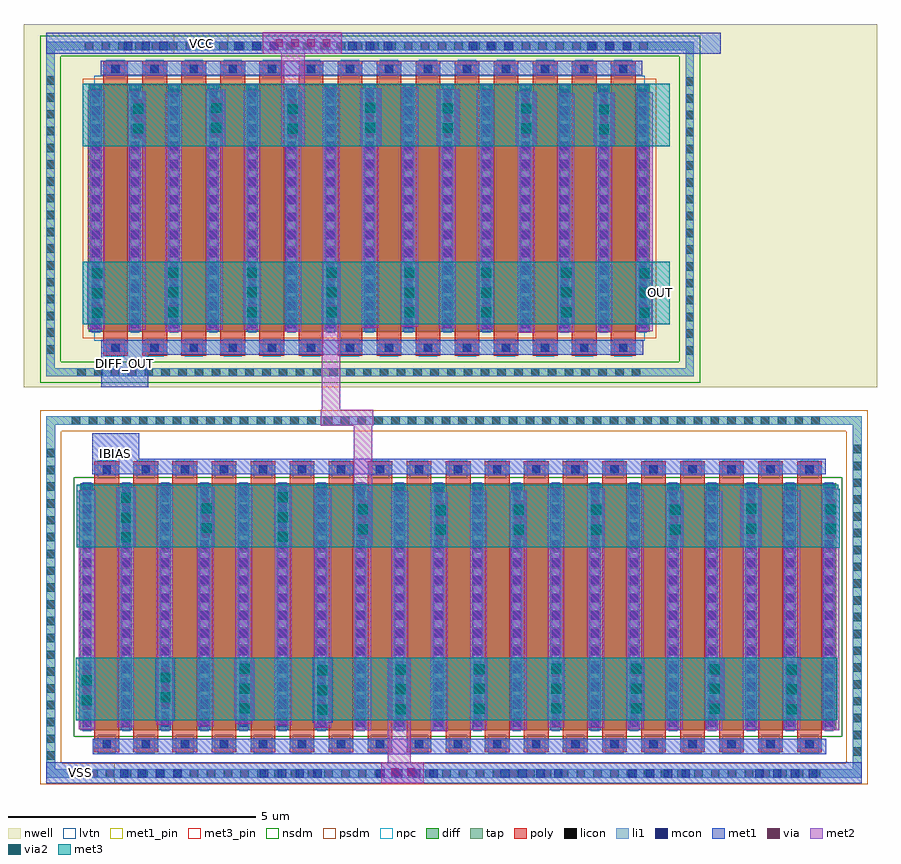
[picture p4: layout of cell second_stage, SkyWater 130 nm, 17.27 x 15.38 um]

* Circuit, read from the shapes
.subckt second_stage DIFF_OUT IBIAS OUT VCC VSS
XM1 OUT IBIAS VSS VSS sky130_fd_pr__nfet_01v8 w=5 l=0.5 m=19
XM2 VCC DIFF_OUT OUT VCC sky130_fd_pr__pfet_01v8_lvt w=5 l=0.5 m=14
.ends

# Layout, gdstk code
import gdstk
lib = gdstk.Library(unit=1e-6, precision=1e-09)
def R(c, l, rs):  # rectangles x0, y0, x1, y1
    for r in rs: c.add(gdstk.rectangle(r[:2], r[2:], *l))
def A(c, l, x, y, w, h, nx, ny, dx, dy):  # array of equal rectangles
    R(c, l, [(x+i*dx, y+j*dy, x+i*dx+w, y+j*dy+h) for i in range(nx) for j in range(ny)])
nwell = (64, 20)
diff = (65, 20)
tap = (65, 44)
poly = (66, 20)
licon = (66, 44)
li1 = (67, 20)
mcon = (67, 44)
met1_pin = (68, 16)
met1 = (68, 20)
via = (68, 44)
met2 = (69, 20)
via2 = (69, 44)
met3_pin = (70, 16)
met3 = (70, 20)
nsdm = (93, 44)
psdm = (94, 20)
npc = (95, 20)
lvtn = (125, 44)

sky130_fd_pr__pfet_01v8_ = lib.new_cell('sky130_fd_pr__pfet_01v8_lvt_YS6JVD')
R(sky130_fd_pr__pfet_01v8_, nwell, [(-0.72,-3,0.72,3)])
R(sky130_fd_pr__pfet_01v8_, diff, [(-0.54,-2.5,0.54,2.5)])
R(sky130_fd_pr__pfet_01v8_, poly, [(-0.25,-2.985,0.25,2.985)])
A(sky130_fd_pr__pfet_01v8_, licon, -0.48, -2.295, 0.17, 0.17, 1, 14, 0, 0.34)
A(sky130_fd_pr__pfet_01v8_, licon, 0.31, -2.295, 0.17, 0.17, 1, 14, 0, 0.34)
R(sky130_fd_pr__pfet_01v8_, licon, [(-0.085,-2.905,0.085,-2.735), (-0.085,2.735,0.085,2.905)])
R(sky130_fd_pr__pfet_01v8_, li1, [(-0.25,-2.905,0.25,-2.735), (-0.48,-2.52,-0.31,2.52), (0.31,-2.52,0.48,2.52), (-0.25,2.735,0.25,2.905)])
A(sky130_fd_pr__pfet_01v8_, mcon, -0.48, -2.425, 0.17, 0.17, 1, 14, 0, 0.36)
A(sky130_fd_pr__pfet_01v8_, mcon, 0.31, -2.425, 0.17, 0.17, 1, 14, 0, 0.36)
R(sky130_fd_pr__pfet_01v8_, mcon, [(-0.085,-2.905,0.085,-2.735), (-0.085,2.735,0.085,2.905)])
R(sky130_fd_pr__pfet_01v8_, met1, [(-0.23,-2.935,0.23,-2.705), (-0.51,-2.5,-0.28,2.5), (0.28,-2.5,0.51,2.5), (-0.23,2.705,0.23,2.935)])
R(sky130_fd_pr__pfet_01v8_, psdm, [(-0.665,-2.625,0.665,2.625)])
R(sky130_fd_pr__pfet_01v8_, npc, [(-0.185,-3.005,0.185,-2.635), (-0.185,2.635,0.185,3.005)])
R(sky130_fd_pr__pfet_01v8_, lvtn, [(-0.43,-2.68,0.43,2.68)])

sky130_fd_pr__nfet_01v8_ = lib.new_cell('sky130_fd_pr__nfet_01v8_U9XYXH')
R(sky130_fd_pr__nfet_01v8_, diff, [(-0.54,-2.5,0.54,2.5)])
R(sky130_fd_pr__nfet_01v8_, poly, [(-0.25,-2.94,0.25,2.94)])
A(sky130_fd_pr__nfet_01v8_, licon, -0.48, -2.295, 0.17, 0.17, 1, 14, 0, 0.34)
A(sky130_fd_pr__nfet_01v8_, licon, 0.31, -2.295, 0.17, 0.17, 1, 14, 0, 0.34)
R(sky130_fd_pr__nfet_01v8_, licon, [(-0.085,-2.86,0.085,-2.69), (-0.085,2.69,0.085,2.86)])
R(sky130_fd_pr__nfet_01v8_, li1, [(-0.25,-2.86,0.25,-2.69), (-0.48,-2.52,-0.31,2.52), (0.31,-2.52,0.48,2.52), (-0.25,2.69,0.25,2.86)])
A(sky130_fd_pr__nfet_01v8_, mcon, -0.48, -2.425, 0.17, 0.17, 1, 14, 0, 0.36)
A(sky130_fd_pr__nfet_01v8_, mcon, 0.31, -2.425, 0.17, 0.17, 1, 14, 0, 0.36)
R(sky130_fd_pr__nfet_01v8_, mcon, [(-0.085,-2.86,0.085,-2.69), (-0.085,2.69,0.085,2.86)])
R(sky130_fd_pr__nfet_01v8_, met1, [(-0.23,-2.89,0.23,-2.66), (-0.51,-2.5,-0.28,2.5), (0.28,-2.5,0.51,2.5), (-0.23,2.66,0.23,2.89)])
R(sky130_fd_pr__nfet_01v8_, nsdm, [(-0.665,-2.625,0.665,2.625)])
R(sky130_fd_pr__nfet_01v8_, npc, [(-0.185,-2.96,0.185,-2.59), (-0.185,2.59,0.185,2.96)])

second_stage = lib.new_cell('second_stage')
R(second_stage, nwell, [(-1.14,7.38,16.13,14.73)])
R(second_stage, tap, [(-0.68,-0.52,15.81,-0.35), (-0.68,-0.35,-0.5,6.62), (15.63,-0.35,15.81,6.62), (-0.68,6.62,15.81,6.79), (-0.68,7.6,12.42,7.77), (-0.68,7.77,-0.51,14.2), (12.25,7.77,12.42,14.2), (-0.68,14.2,12.42,14.37)])
A(second_stage, licon, -0.155, -0.52, 0.17, 0.17, 45, 1, 0.34, 0)
A(second_stage, licon, -0.675, -0.155, 0.17, 0.17, 1, 19, 0, 0.34)
A(second_stage, licon, 15.635, -0.075, 0.17, 0.17, 1, 19, 0, 0.34)
A(second_stage, licon, -0.165, 6.62, 0.17, 0.17, 45, 1, 0.34, 0)
A(second_stage, licon, -0.055, 7.6, 0.17, 0.17, 34, 1, 0.34, 0)
A(second_stage, licon, 12.25, 8.04, 0.17, 0.17, 1, 17, 0, 0.34)
A(second_stage, licon, -0.68, 8.06, 0.17, 0.17, 1, 17, 0, 0.34)
A(second_stage, licon, 0.095, 14.2, 0.17, 0.17, 34, 1, 0.34, 0)
R(second_stage, li1, [(-0.68,-0.52,15.81,-0.35), (-0.68,-0.35,-0.5,6.62), (15.63,-0.35,15.81,6.62), (-0.68,6.62,15.81,6.79), (-0.68,7.6,12.42,7.77), (-0.68,7.77,-0.51,14.2), (12.25,7.77,12.42,14.2), (-0.68,14.2,12.42,14.37)])
A(second_stage, mcon, 0.81, -0.52, 0.17, 0.17, 4, 1, 0.36, 0)
A(second_stage, mcon, 3.64, -0.52, 0.17, 0.17, 4, 1, 0.36, 0)
A(second_stage, mcon, 5.99, -0.52, 0.17, 0.17, 4, 1, 0.36, 0)
A(second_stage, mcon, 8.51, -0.52, 0.17, 0.17, 4, 1, 0.36, 0)
A(second_stage, mcon, 11.09, -0.52, 0.17, 0.17, 4, 1, 0.36, 0)
A(second_stage, mcon, 13.66, -0.52, 0.17, 0.17, 4, 1, 0.36, 0)
A(second_stage, mcon, 0.885, 14.2, 0.17, 0.17, 3, 1, 0.36, 0)
A(second_stage, mcon, 3.125, 14.2, 0.17, 0.17, 3, 1, 0.36, 0)
A(second_stage, mcon, 5.425, 14.2, 0.17, 0.17, 3, 1, 0.36, 0)
A(second_stage, mcon, 7.865, 14.2, 0.17, 0.17, 3, 1, 0.36, 0)
A(second_stage, mcon, 10.265, 14.2, 0.17, 0.17, 3, 1, 0.36, 0)
R(second_stage, met1_pin, [(-0.68,-0.63,0.7,-0.21), (0.25,5.62,1.2,6.45), (0.43,7.38,1.38,8.34), (1.9,14.13,3,14.55)])
R(second_stage, met1, [(-0.68,-0.63,15.81,-0.21), (0.26,-0.04,15.1,0.27), (-0.03,0.46,0.31,5.3), (4.71,0.59,5.11,1.92), (1.52,0.63,1.92,1.91), (3.12,0.63,3.52,1.91), (11.05,0.63,11.41,1.91), (6.24,0.64,6.69,1.9), (9.45,0.64,9.81,1.91), (12.64,0.64,13.03,1.91), (14.22,0.64,14.58,1.92), (7.89,0.65,8.24,1.91), (5.54,4.13,5.9,5.28), (15.01,4.13,15.37,5.33), (0.74,4.14,1.1,4.15), (2.36,4.14,2.72,5.36), (3.93,4.14,4.28,5.38), (7.1,4.14,7.44,5.26), (8.69,4.14,9.04,5.29), (10.26,4.14,10.62,5.33), (11.85,4.14,12.2,5.29), (13.41,4.14,13.75,4.15), (0.73,4.15,1.13,5.36), (13.36,4.15,13.78,5.33), (0.25,5.62,15.09,5.93), (0.25,5.93,1.2,6.45), (0.43,7.38,1.38,8.04), (0.43,8.04,11.39,8.34), (1.71,8.65,2.07,9.91), (0.15,8.66,0.5,9.92), (3.3,8.66,3.66,9.92), (4.9,8.66,5.26,9.92), (6.5,8.66,6.84,9.92), (8.03,8.66,8.37,9.92), (9.66,8.66,10,9.92), (11.24,8.66,11.59,9.92), (0.98,12.25,1.33,13.37), (2.55,12.26,2.89,13.38), (4.13,12.26,4.49,13.35), (5.67,12.26,6.09,13.42), (7.22,12.26,7.68,13.41), (8.82,12.26,9.24,13.36), (10.39,12.26,10.82,13.34), (0.42,13.69,11.37,13.99), (-0.68,14.13,12.96,14.55)])
A(second_stage, via, 0.065, 0.855, 0.15, 0.15, 1, 3, 0, 0.32)
A(second_stage, via, 4.825, 0.86, 0.15, 0.15, 1, 3, 0, 0.32)
A(second_stage, via, 6.395, 0.87, 0.15, 0.15, 1, 3, 0, 0.32)
A(second_stage, via, 14.32, 0.875, 0.15, 0.15, 1, 3, 0, 0.32)
A(second_stage, via, 7.995, 0.885, 0.15, 0.15, 1, 3, 0, 0.32)
A(second_stage, via, 9.55, 0.885, 0.15, 0.15, 1, 3, 0, 0.32)
A(second_stage, via, 12.765, 0.885, 0.15, 0.15, 1, 3, 0, 0.32)
A(second_stage, via, 3.255, 0.89, 0.15, 0.15, 1, 3, 0, 0.32)
A(second_stage, via, 11.165, 0.89, 0.15, 0.15, 1, 3, 0, 0.32)
A(second_stage, via, 1.655, 0.915, 0.15, 0.15, 1, 3, 0, 0.32)
A(second_stage, via, 7.205, 4.3, 0.15, 0.15, 1, 3, 0, 0.32)
A(second_stage, via, 8.795, 4.305, 0.15, 0.15, 1, 3, 0, 0.32)
A(second_stage, via, 10.355, 4.305, 0.15, 0.15, 1, 3, 0, 0.32)
A(second_stage, via, 11.955, 4.305, 0.15, 0.15, 1, 3, 0, 0.32)
A(second_stage, via, 5.64, 4.315, 0.15, 0.15, 1, 3, 0, 0.32)
A(second_stage, via, 15.115, 4.32, 0.15, 0.15, 1, 3, 0, 0.32)
A(second_stage, via, 13.505, 4.325, 0.15, 0.15, 1, 3, 0, 0.32)
A(second_stage, via, 2.475, 4.34, 0.15, 0.15, 1, 3, 0, 0.32)
A(second_stage, via, 0.855, 4.35, 0.15, 0.15, 1, 3, 0, 0.32)
A(second_stage, via, 4.025, 4.36, 0.15, 0.15, 1, 3, 0, 0.32)
A(second_stage, via, 11.34, 8.895, 0.15, 0.15, 1, 3, 0, 0.32)
A(second_stage, via, 6.59, 8.9, 0.15, 0.15, 1, 3, 0, 0.32)
A(second_stage, via, 8.13, 8.9, 0.15, 0.15, 1, 3, 0, 0.32)
A(second_stage, via, 1.81, 8.905, 0.15, 0.15, 1, 3, 0, 0.32)
A(second_stage, via, 3.4, 8.905, 0.15, 0.15, 1, 3, 0, 0.32)
A(second_stage, via, 5.01, 8.905, 0.15, 0.15, 1, 3, 0, 0.32)
A(second_stage, via, 9.76, 8.905, 0.15, 0.15, 1, 3, 0, 0.32)
A(second_stage, via, 0.29, 8.91, 0.15, 0.15, 1, 3, 0, 0.32)
A(second_stage, via, 10.525, 12.405, 0.15, 0.15, 1, 3, 0, 0.32)
A(second_stage, via, 4.23, 12.415, 0.15, 0.15, 1, 3, 0, 0.32)
A(second_stage, via, 1.1, 12.42, 0.15, 0.15, 1, 3, 0, 0.32)
A(second_stage, via, 8.95, 12.425, 0.15, 0.15, 1, 3, 0, 0.32)
A(second_stage, via, 7.365, 12.43, 0.15, 0.15, 1, 3, 0, 0.32)
A(second_stage, via, 2.665, 12.435, 0.15, 0.15, 1, 3, 0, 0.32)
A(second_stage, via, 5.795, 12.44, 0.15, 0.15, 1, 3, 0, 0.32)
A(second_stage, via, 3.955, 14.27, 0.15, 0.15, 4, 1, 0.32, 0)
R(second_stage, via, [(6.3,-0.48,6.45,-0.33), (6.62,-0.48,6.77,-0.33)])
R(second_stage, met2, [(6.09,-0.63,6.95,-0.21), (6.23,-0.21,6.69,1.91), (7.1,0.42,7.44,5.26), (5.55,0.44,5.89,4.13), (12.65,0.44,12.99,0.64), (15.02,0.44,15.36,4.13), (7.89,0.45,8.23,5.29), (8.7,0.45,9.04,4.14), (11.85,0.45,12.19,4.14), (13.41,0.45,13.75,4.15), (14.23,0.45,14.57,0.64), (-0.03,0.46,0.31,5.3), (11.06,0.47,11.4,5.31), (4.74,0.49,5.08,5.33), (10.27,0.49,10.61,4.14), (0.75,0.5,1.09,4.15), (9.46,0.5,9.8,5.34), (2.37,0.52,2.71,5.36), (3.94,0.54,4.28,4.14), (1.54,0.55,1.88,5.39), (3.14,0.57,3.48,0.63), (3.12,0.63,3.52,1.91), (12.64,0.64,13.03,1.91), (14.22,0.64,14.58,1.92), (3.14,1.91,3.48,5.41), (6.3,1.91,6.64,5.28), (12.65,1.91,12.99,5.28), (14.23,1.92,14.57,5.29), (5.54,4.13,5.9,4.2), (15.01,4.13,15.37,5.33), (3.93,4.14,4.28,5.38), (8.69,4.14,9.04,5.29), (10.26,4.14,10.62,5.33), (11.85,4.14,12.2,5.29), (0.73,4.15,1.13,5.36), (13.36,4.15,13.78,5.33), (5.54,4.2,5.91,6.6), (4.87,6.6,5.93,6.93), (4.89,6.93,5.26,9.45), (8.86,8.48,9.2,12.26), (9.66,8.49,10,13.33), (10.43,8.49,10.77,12.26), (1.72,8.5,2.06,8.65), (4.14,8.5,4.48,12.25), (11.25,8.51,11.59,8.66), (0.99,8.53,1.33,12.25), (2.55,8.54,2.89,12.25), (3.31,8.54,3.65,8.66), (0.16,8.55,0.5,13.39), (8.03,8.55,8.37,13.39), (7.26,8.57,7.6,12.26), (5.7,8.59,6.04,12.26), (6.5,8.61,6.84,13.45), (1.71,8.65,2.07,9.91), (3.3,8.66,3.66,9.92), (11.24,8.66,11.59,9.92), (4.9,9.45,5.26,9.92), (1.72,9.91,2.06,13.34), (3.31,9.92,3.65,13.38), (4.91,9.92,5.25,13.44), (11.25,9.92,11.59,13.35), (0.98,12.25,1.33,13.37), (2.55,12.25,2.94,13.4), (4.07,12.25,4.55,14.13), (5.67,12.26,6.09,13.42), (7.22,12.26,7.68,13.41), (8.82,12.26,9.24,13.36), (10.39,12.26,10.82,13.34), (5.7,13.42,6.04,13.43), (3.7,14.13,5.29,14.56)])
A(second_stage, via2, 4.8, 0.755, 0.2, 0.2, 1, 3, 0, 0.4)
A(second_stage, via2, 6.39, 0.77, 0.2, 0.2, 1, 3, 0, 0.4)
A(second_stage, via2, 14.295, 0.77, 0.2, 0.2, 1, 3, 0, 0.4)
A(second_stage, via2, 7.98, 0.78, 0.2, 0.2, 1, 3, 0, 0.4)
A(second_stage, via2, 12.74, 0.78, 0.2, 0.2, 1, 3, 0, 0.4)
A(second_stage, via2, 3.23, 0.785, 0.2, 0.2, 1, 3, 0, 0.4)
A(second_stage, via2, 9.535, 0.785, 0.2, 0.2, 1, 3, 0, 0.4)
A(second_stage, via2, 11.15, 0.785, 0.2, 0.2, 1, 3, 0, 0.4)
A(second_stage, via2, 0.83, 4.245, 0.2, 0.2, 1, 3, 0, 0.4)
A(second_stage, via2, 4, 4.255, 0.2, 0.2, 1, 3, 0, 0.4)
A(second_stage, via2, 0.25, 8.785, 0.2, 0.2, 1, 3, 0, 0.4)
A(second_stage, via2, 11.32, 8.79, 0.2, 0.2, 1, 3, 0, 0.4)
A(second_stage, via2, 6.565, 8.795, 0.2, 0.2, 1, 3, 0, 0.4)
A(second_stage, via2, 8.115, 8.795, 0.2, 0.2, 1, 3, 0, 0.4)
A(second_stage, via2, 1.79, 8.8, 0.2, 0.2, 1, 3, 0, 0.4)
A(second_stage, via2, 3.38, 8.8, 0.2, 0.2, 1, 3, 0, 0.4)
A(second_stage, via2, 4.99, 8.8, 0.2, 0.2, 1, 3, 0, 0.4)
A(second_stage, via2, 9.74, 8.8, 0.2, 0.2, 1, 3, 0, 0.4)
R(second_stage, via2, [(0.04,0.95,0.24,1.15), (1.63,1.01,1.83,1.21), (0.04,1.35,0.24,1.55), (1.63,1.41,1.83,1.61), (7.195,4.395,7.395,4.595), (8.78,4.4,8.98,4.6), (10.34,4.4,10.54,4.6), (11.94,4.4,12.14,4.6), (5.625,4.41,5.825,4.61), (15.09,4.415,15.29,4.615), (13.48,4.42,13.68,4.62), (2.46,4.435,2.66,4.635), (7.195,4.795,7.395,4.995), (8.78,4.8,8.98,5), (10.34,4.8,10.54,5), (11.94,4.8,12.14,5), (5.625,4.81,5.825,5.01), (15.09,4.815,15.29,5.015), (13.48,4.82,13.68,5.02), (2.46,4.835,2.66,5.035), (10.5,12.5,10.7,12.7), (4.205,12.51,4.405,12.71), (1.075,12.515,1.275,12.715), (8.925,12.52,9.125,12.72), (7.34,12.525,7.54,12.725), (2.655,12.53,2.855,12.73), (5.77,12.535,5.97,12.735), (10.5,12.9,10.7,13.1), (4.205,12.91,4.405,13.11), (1.075,12.915,1.275,13.115), (8.925,12.92,9.125,13.12), (7.34,12.925,7.54,13.125), (2.655,12.93,2.855,13.13), (5.77,12.935,5.97,13.135)])
R(second_stage, met3_pin, [(11.56,8.66,11.93,9.92)])
R(second_stage, met3, [(-0.09,0.64,15.32,1.91), (14.22,1.91,14.58,1.92), (15.01,4.13,15.37,4.14), (-0.07,4.14,15.37,5.33), (-0.07,5.33,15.34,5.41), (0.06,8.66,11.93,9.92), (0.06,12.26,11.93,13.52)])
R(second_stage, nsdm, [(-0.805,7.475,12.545,7.895), (-0.805,7.895,-0.385,14.075), (12.125,7.895,12.545,14.075), (-0.805,14.075,12.545,14.495)])
R(second_stage, psdm, [(-0.805,-0.645,15.935,-0.225), (-0.805,-0.225,-0.375,6.495), (15.505,-0.225,15.935,6.495), (-0.805,6.495,15.935,6.915)])
second_stage.add(gdstk.Reference(sky130_fd_pr__pfet_01v8_, (10.99,11)))
second_stage.add(gdstk.Reference(sky130_fd_pr__pfet_01v8_, (10.2,11)))
second_stage.add(gdstk.Reference(sky130_fd_pr__pfet_01v8_, (9.41,11)))
second_stage.add(gdstk.Reference(sky130_fd_pr__pfet_01v8_, (8.62,11)))
second_stage.add(gdstk.Reference(sky130_fd_pr__pfet_01v8_, (7.83,11)))
second_stage.add(gdstk.Reference(sky130_fd_pr__pfet_01v8_, (7.04,11)))
second_stage.add(gdstk.Reference(sky130_fd_pr__pfet_01v8_, (6.25,11)))
second_stage.add(gdstk.Reference(sky130_fd_pr__pfet_01v8_, (5.46,11)))
second_stage.add(gdstk.Reference(sky130_fd_pr__pfet_01v8_, (4.67,11)))
second_stage.add(gdstk.Reference(sky130_fd_pr__pfet_01v8_, (3.88,11)))
second_stage.add(gdstk.Reference(sky130_fd_pr__pfet_01v8_, (3.09,11)))
second_stage.add(gdstk.Reference(sky130_fd_pr__pfet_01v8_, (2.3,11)))
second_stage.add(gdstk.Reference(sky130_fd_pr__pfet_01v8_, (1.51,11)))
second_stage.add(gdstk.Reference(sky130_fd_pr__pfet_01v8_, (0.72,11)))
second_stage.add(gdstk.Reference(sky130_fd_pr__nfet_01v8_, (13.97,2.94)))
second_stage.add(gdstk.Reference(sky130_fd_pr__nfet_01v8_, (13.18,2.94)))
second_stage.add(gdstk.Reference(sky130_fd_pr__nfet_01v8_, (12.39,2.94)))
second_stage.add(gdstk.Reference(sky130_fd_pr__nfet_01v8_, (11.6,2.94)))
second_stage.add(gdstk.Reference(sky130_fd_pr__nfet_01v8_, (14.76,2.94)))
second_stage.add(gdstk.Reference(sky130_fd_pr__nfet_01v8_, (10.02,2.94)))
second_stage.add(gdstk.Reference(sky130_fd_pr__nfet_01v8_, (10.81,2.94)))
second_stage.add(gdstk.Reference(sky130_fd_pr__nfet_01v8_, (8.44,2.94)))
second_stage.add(gdstk.Reference(sky130_fd_pr__nfet_01v8_, (7.65,2.94)))
second_stage.add(gdstk.Reference(sky130_fd_pr__nfet_01v8_, (9.23,2.94)))
second_stage.add(gdstk.Reference(sky130_fd_pr__nfet_01v8_, (6.07,2.94)))
second_stage.add(gdstk.Reference(sky130_fd_pr__nfet_01v8_, (5.28,2.94)))
second_stage.add(gdstk.Reference(sky130_fd_pr__nfet_01v8_, (6.86,2.94)))
second_stage.add(gdstk.Reference(sky130_fd_pr__nfet_01v8_, (3.7,2.94)))
second_stage.add(gdstk.Reference(sky130_fd_pr__nfet_01v8_, (2.91,2.94)))
second_stage.add(gdstk.Reference(sky130_fd_pr__nfet_01v8_, (4.49,2.94)))
second_stage.add(gdstk.Reference(sky130_fd_pr__nfet_01v8_, (1.33,2.94)))
second_stage.add(gdstk.Reference(sky130_fd_pr__nfet_01v8_, (0.54,2.94)))
second_stage.add(gdstk.Reference(sky130_fd_pr__nfet_01v8_, (2.12,2.94)))
second_stage.add(gdstk.Label('VSS', (0.01,-0.42), layer=68, texttype=5))
second_stage.add(gdstk.Label('VCC', (2.45,14.34), layer=68, texttype=5))
second_stage.add(gdstk.Label('OUT', (11.745,9.29), layer=70, texttype=5))
second_stage.add(gdstk.Label('IBIAS', (0.725,6.035), layer=68, texttype=5))
second_stage.add(gdstk.Label('DIFF_OUT', (0.905,7.86), layer=68, texttype=5))

lib.write_gds('second_stage.gds')
